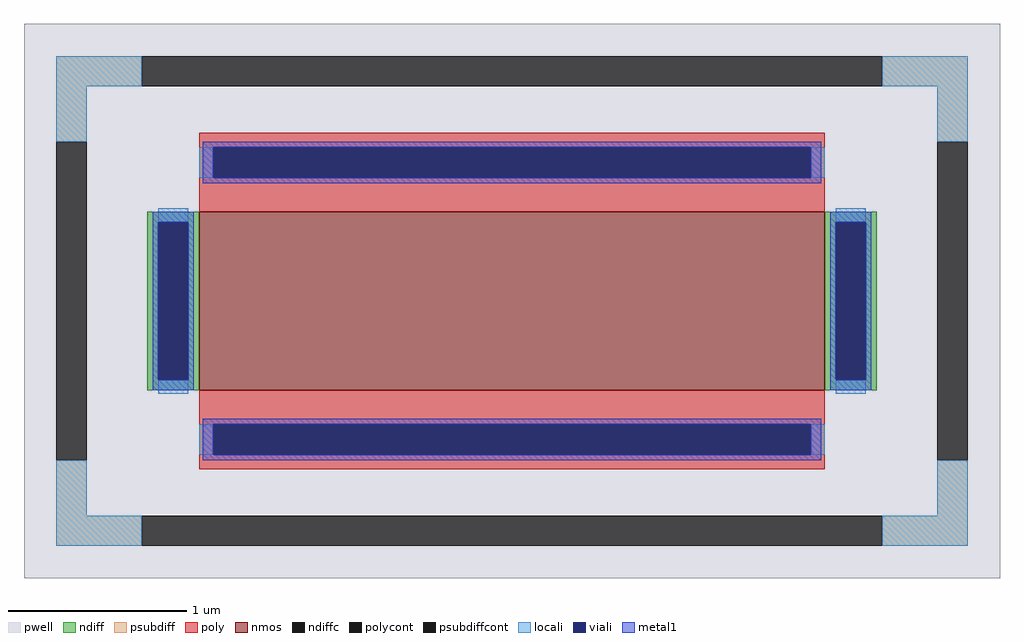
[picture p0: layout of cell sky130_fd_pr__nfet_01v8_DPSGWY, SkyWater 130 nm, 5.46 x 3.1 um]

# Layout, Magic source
magic
tech sky130A
<< pwell >>
rect -273 -155 273 155
<< nmos >>
rect -175 -50 175 50
<< ndiff >>
rect -204 44 -175 50
rect -204 -44 -198 44
rect -181 -44 -175 44
rect -204 -50 -175 -44
rect 175 44 204 50
rect 175 -44 181 44
rect 198 -44 204 44
rect 175 -50 204 -44
<< ndiffc >>
rect -198 -44 -181 44
rect 181 -44 198 44
<< psubdiff >>
rect -255 120 -207 137
rect 207 120 255 137
rect -255 89 -238 120
rect 238 89 255 120
rect -255 -120 -238 -89
rect 238 -120 255 -89
rect -255 -137 -207 -120
rect 207 -137 255 -120
<< psubdiffcont >>
rect -207 120 207 137
rect -255 -89 -238 89
rect 238 -89 255 89
rect -207 -137 207 -120
<< poly >>
rect -175 86 175 94
rect -175 69 -167 86
rect 167 69 175 86
rect -175 50 175 69
rect -175 -69 175 -50
rect -175 -86 -167 -69
rect 167 -86 175 -69
rect -175 -94 175 -86
<< polycont >>
rect -167 69 167 86
rect -167 -86 167 -69
<< locali >>
rect -255 120 -207 137
rect 207 120 255 137
rect -255 89 -238 120
rect 238 89 255 120
rect -175 69 -167 86
rect 167 69 175 86
rect -198 44 -181 52
rect -198 -52 -181 -44
rect 181 44 198 52
rect 181 -52 198 -44
rect -175 -86 -167 -69
rect 167 -86 175 -69
rect -255 -120 -238 -89
rect 238 -120 255 -89
rect -255 -137 -207 -120
rect 207 -137 255 -120
<< viali >>
rect -167 69 167 86
rect -198 -44 -181 44
rect 181 -44 198 44
rect -167 -86 167 -69
<< metal1 >>
rect -173 86 173 89
rect -173 69 -167 86
rect 167 69 173 86
rect -173 66 173 69
rect -201 44 -178 50
rect -201 -44 -198 44
rect -181 -44 -178 44
rect -201 -50 -178 -44
rect 178 44 201 50
rect 178 -44 181 44
rect 198 -44 201 44
rect 178 -50 201 -44
rect -173 -69 173 -66
rect -173 -86 -167 -69
rect 167 -86 173 -69
rect -173 -89 173 -86
<< properties >>
string FIXED_BBOX -246 -128 246 128
string gencell sky130_fd_pr__nfet_01v8
string library sky130
string parameters w 1.0 l 3.5 m 1 nf 1 diffcov 100 polycov 100 guard 1 glc 1 grc 1 gtc 1 gbc 1 tbcov 100 rlcov 100 topc 1 botc 1 poverlap 0 doverlap 1 lmin 0.15 wmin 0.42 compatible {sky130_fd_pr__nfet_01v8 sky130_fd_pr__nfet_01v8_lvt  sky130_fd_bs_flash__special_sonosfet_star  sky130_fd_pr__nfet_g5v0d10v5 sky130_fd_pr__nfet_05v0_nvt  sky130_fd_pr__nfet_03v3_nvt} full_metal 1 viasrc 100 viadrn 100 viagate 100 viagb 0 viagr 0 viagl 0 viagt 0
<< end >>
